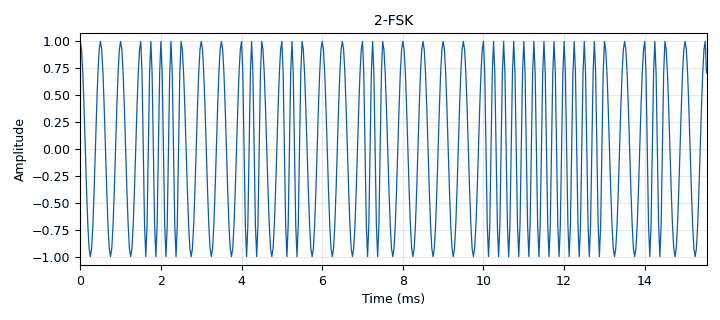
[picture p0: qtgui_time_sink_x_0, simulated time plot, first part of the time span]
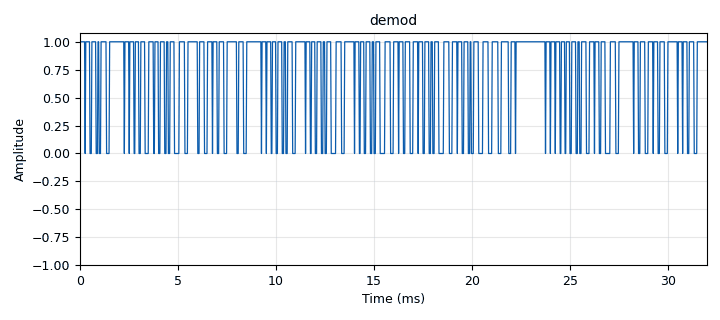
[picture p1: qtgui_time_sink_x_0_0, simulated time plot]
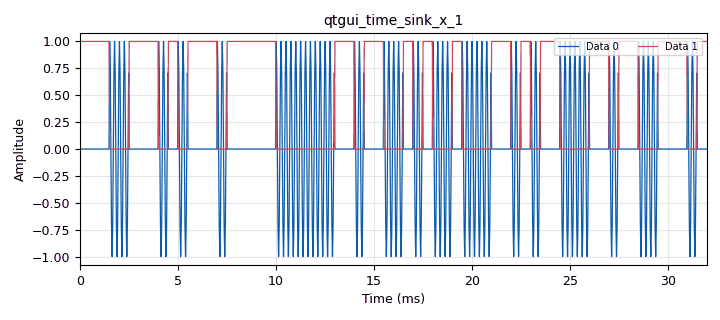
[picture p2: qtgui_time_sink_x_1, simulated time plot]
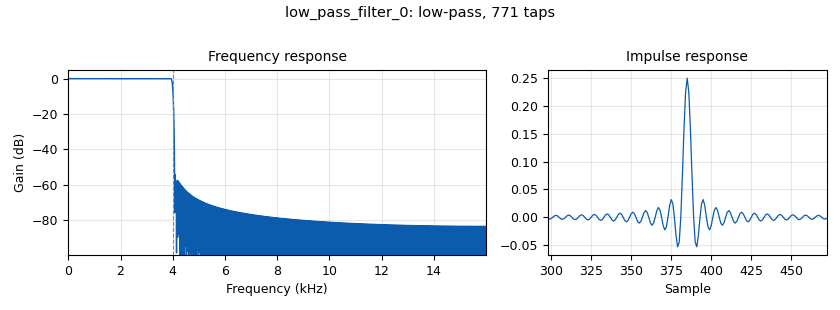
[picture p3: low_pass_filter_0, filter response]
<?xml version='1.0' encoding='utf-8'?>
<?grc format='1' created='3.7.13'?>
<flow_graph>
<block>
<key>options</key>
<param><key>id</key><value>top_block</value></param>
<param><key>generate_options</key><value>qt_gui</value></param>
</block>
<block>
<key>variable</key>
<param><key>id</key><value>samp_rate</value></param>
<param><key>value</key><value>32000</value></param>
</block>
<block>
<key>analog_quadrature_demod_cf</key>
<param><key>id</key><value>analog_quadrature_demod_cf_0</value></param>
<param><key>gain</key><value>samp_rate/(2*math.pi*1000/8.0)</value></param>
</block>
<block>
<key>analog_random_source_x</key>
<param><key>id</key><value>analog_random_source_x_0</value></param>
<param><key>max</key><value>2</value></param>
<param><key>min</key><value>0</value></param>
<param><key>num_samps</key><value>1000</value></param>
<param><key>type</key><value>byte</value></param>
<param><key>repeat</key><value>True</value></param>
</block>
<block>
<key>analog_sig_source_x</key>
<param><key>id</key><value>analog_sig_source_x_0</value></param>
<param><key>amp</key><value>1</value></param>
<param><key>freq</key><value>2000</value></param>
<param><key>offset</key><value>0</value></param>
<param><key>type</key><value>float</value></param>
<param><key>samp_rate</key><value>samp_rate</value></param>
<param><key>waveform</key><value>analog.GR_COS_WAVE</value></param>
</block>
<block>
<key>analog_sig_source_x</key>
<param><key>id</key><value>analog_sig_source_x_2</value></param>
<param><key>amp</key><value>1</value></param>
<param><key>freq</key><value>4000</value></param>
<param><key>offset</key><value>0</value></param>
<param><key>type</key><value>float</value></param>
<param><key>samp_rate</key><value>samp_rate</value></param>
<param><key>waveform</key><value>analog.GR_COS_WAVE</value></param>
</block>
<block>
<key>blocks_add_const_vxx</key>
<param><key>id</key><value>blocks_add_const_vxx_0</value></param>
<param><key>const</key><value>1</value></param>
<param><key>type</key><value>float</value></param>
</block>
<block>
<key>blocks_add_xx</key>
<param><key>id</key><value>blocks_add_xx_0</value></param>
<param><key>type</key><value>float</value></param>
</block>
<block>
<key>blocks_char_to_float</key>
<param><key>id</key><value>blocks_char_to_float_0</value></param>
<param><key>scale</key><value>1</value></param>
</block>
<block>
<key>blocks_char_to_float</key>
<param><key>id</key><value>blocks_char_to_float_1</value></param>
<param><key>scale</key><value>1</value></param>
</block>
<block>
<key>blocks_float_to_complex</key>
<param><key>id</key><value>blocks_float_to_complex_0</value></param>
</block>
<block>
<key>blocks_multiply_const_vxx</key>
<param><key>id</key><value>blocks_multiply_const_vxx_0</value></param>
<param><key>const</key><value>-1</value></param>
<param><key>type</key><value>float</value></param>
</block>
<block>
<key>blocks_multiply_xx</key>
<param><key>id</key><value>blocks_multiply_xx_0</value></param>
<param><key>type</key><value>float</value></param>
</block>
<block>
<key>blocks_multiply_xx</key>
<param><key>id</key><value>blocks_multiply_xx_0_0</value></param>
<param><key>type</key><value>float</value></param>
</block>
<block>
<key>blocks_repeat</key>
<param><key>id</key><value>blocks_repeat_0</value></param>
<param><key>interp</key><value>samp_rate/2000</value></param>
<param><key>type</key><value>float</value></param>
</block>
<block>
<key>blocks_throttle</key>
<param><key>id</key><value>blocks_throttle_0</value></param>
<param><key>samples_per_second</key><value>samp_rate</value></param>
<param><key>type</key><value>float</value></param>
</block>
<block>
<key>blocks_throttle</key>
<param><key>id</key><value>blocks_throttle_0_0</value></param>
<param><key>samples_per_second</key><value>samp_rate</value></param>
<param><key>type</key><value>float</value></param>
</block>
<block>
<key>blocks_throttle</key>
<param><key>id</key><value>blocks_throttle_1</value></param>
<param><key>samples_per_second</key><value>samp_rate</value></param>
<param><key>type</key><value>byte</value></param>
</block>
<block>
<key>digital_binary_slicer_fb</key>
<param><key>id</key><value>digital_binary_slicer_fb_0</value></param>
</block>
<block>
<key>low_pass_filter</key>
<param><key>id</key><value>low_pass_filter_0</value></param>
<param><key>cutoff_freq</key><value>4000</value></param>
<param><key>decim</key><value>1</value></param>
<param><key>type</key><value>fir_filter_fff</value></param>
<param><key>gain</key><value>1</value></param>
<param><key>samp_rate</key><value>samp_rate</value></param>
<param><key>width</key><value>100</value></param>
<param><key>win</key><value>firdes.WIN_HAMMING</value></param>
</block>
<block>
<key>qtgui_time_sink_x</key>
<param><key>id</key><value>qtgui_time_sink_x_0</value></param>
<param><key>ctrlpanel</key><value>True</value></param>
<param><key>color1</key><value>"blue"</value></param>
<param><key>label1</key><value></value></param>
<param><key>name</key><value>2-FSK</value></param>
<param><key>size</key><value>1024</value></param>
<param><key>srate</key><value>samp_rate</value></param>
<param><key>type</key><value>float</value></param>
</block>
<block>
<key>qtgui_time_sink_x</key>
<param><key>id</key><value>qtgui_time_sink_x_0_0</value></param>
<param><key>ctrlpanel</key><value>True</value></param>
<param><key>color1</key><value>"blue"</value></param>
<param><key>label1</key><value></value></param>
<param><key>name</key><value>demod</value></param>
<param><key>size</key><value>1024</value></param>
<param><key>srate</key><value>samp_rate</value></param>
<param><key>type</key><value>float</value></param>
</block>
<block>
<key>qtgui_time_sink_x</key>
<param><key>id</key><value>qtgui_time_sink_x_1</value></param>
<param><key>ctrlpanel</key><value>True</value></param>
<param><key>color1</key><value>"blue"</value></param>
<param><key>label1</key><value></value></param>
<param><key>color2</key><value>"red"</value></param>
<param><key>label2</key><value></value></param>
<param><key>nconnections</key><value>2</value></param>
<param><key>size</key><value>1024</value></param>
<param><key>srate</key><value>samp_rate</value></param>
<param><key>type</key><value>float</value></param>
</block>
<connection><source_block_id>analog_quadrature_demod_cf_0</source_block_id><sink_block_id>low_pass_filter_0</sink_block_id><source_key>0</source_key><sink_key>0</sink_key></connection>
<connection><source_block_id>analog_random_source_x_0</source_block_id><sink_block_id>blocks_throttle_1</sink_block_id><source_key>0</source_key><sink_key>0</sink_key></connection>
<connection><source_block_id>analog_sig_source_x_0</source_block_id><sink_block_id>blocks_throttle_0_0</sink_block_id><source_key>0</source_key><sink_key>0</sink_key></connection>
<connection><source_block_id>analog_sig_source_x_2</source_block_id><sink_block_id>blocks_throttle_0</sink_block_id><source_key>0</source_key><sink_key>0</sink_key></connection>
<connection><source_block_id>blocks_add_const_vxx_0</source_block_id><sink_block_id>blocks_multiply_xx_0_0</sink_block_id><source_key>0</source_key><sink_key>0</sink_key></connection>
<connection><source_block_id>blocks_add_const_vxx_0</source_block_id><sink_block_id>qtgui_time_sink_x_1</sink_block_id><source_key>0</source_key><sink_key>1</sink_key></connection>
<connection><source_block_id>blocks_add_xx_0</source_block_id><sink_block_id>blocks_float_to_complex_0</sink_block_id><source_key>0</source_key><sink_key>0</sink_key></connection>
<connection><source_block_id>blocks_add_xx_0</source_block_id><sink_block_id>qtgui_time_sink_x_0</sink_block_id><source_key>0</source_key><sink_key>0</sink_key></connection>
<connection><source_block_id>blocks_char_to_float_0</source_block_id><sink_block_id>blocks_repeat_0</sink_block_id><source_key>0</source_key><sink_key>0</sink_key></connection>
<connection><source_block_id>blocks_char_to_float_1</source_block_id><sink_block_id>qtgui_time_sink_x_0_0</sink_block_id><source_key>0</source_key><sink_key>0</sink_key></connection>
<connection><source_block_id>blocks_float_to_complex_0</source_block_id><sink_block_id>analog_quadrature_demod_cf_0</sink_block_id><source_key>0</source_key><sink_key>0</sink_key></connection>
<connection><source_block_id>blocks_multiply_const_vxx_0</source_block_id><sink_block_id>blocks_add_const_vxx_0</sink_block_id><source_key>0</source_key><sink_key>0</sink_key></connection>
<connection><source_block_id>blocks_multiply_xx_0</source_block_id><sink_block_id>blocks_add_xx_0</sink_block_id><source_key>0</source_key><sink_key>0</sink_key></connection>
<connection><source_block_id>blocks_multiply_xx_0</source_block_id><sink_block_id>qtgui_time_sink_x_1</sink_block_id><source_key>0</source_key><sink_key>0</sink_key></connection>
<connection><source_block_id>blocks_multiply_xx_0_0</source_block_id><sink_block_id>blocks_add_xx_0</sink_block_id><source_key>0</source_key><sink_key>1</sink_key></connection>
<connection><source_block_id>blocks_repeat_0</source_block_id><sink_block_id>blocks_multiply_const_vxx_0</sink_block_id><source_key>0</source_key><sink_key>0</sink_key></connection>
<connection><source_block_id>blocks_repeat_0</source_block_id><sink_block_id>blocks_multiply_xx_0</sink_block_id><source_key>0</source_key><sink_key>1</sink_key></connection>
<connection><source_block_id>blocks_throttle_0</source_block_id><sink_block_id>blocks_multiply_xx_0</sink_block_id><source_key>0</source_key><sink_key>0</sink_key></connection>
<connection><source_block_id>blocks_throttle_0_0</source_block_id><sink_block_id>blocks_multiply_xx_0_0</sink_block_id><source_key>0</source_key><sink_key>1</sink_key></connection>
<connection><source_block_id>blocks_throttle_1</source_block_id><sink_block_id>blocks_char_to_float_0</sink_block_id><source_key>0</source_key><sink_key>0</sink_key></connection>
<connection><source_block_id>digital_binary_slicer_fb_0</source_block_id><sink_block_id>blocks_char_to_float_1</sink_block_id><source_key>0</source_key><sink_key>0</sink_key></connection>
<connection><source_block_id>low_pass_filter_0</source_block_id><sink_block_id>digital_binary_slicer_fb_0</sink_block_id><source_key>0</source_key><sink_key>0</sink_key></connection>
</flow_graph>
